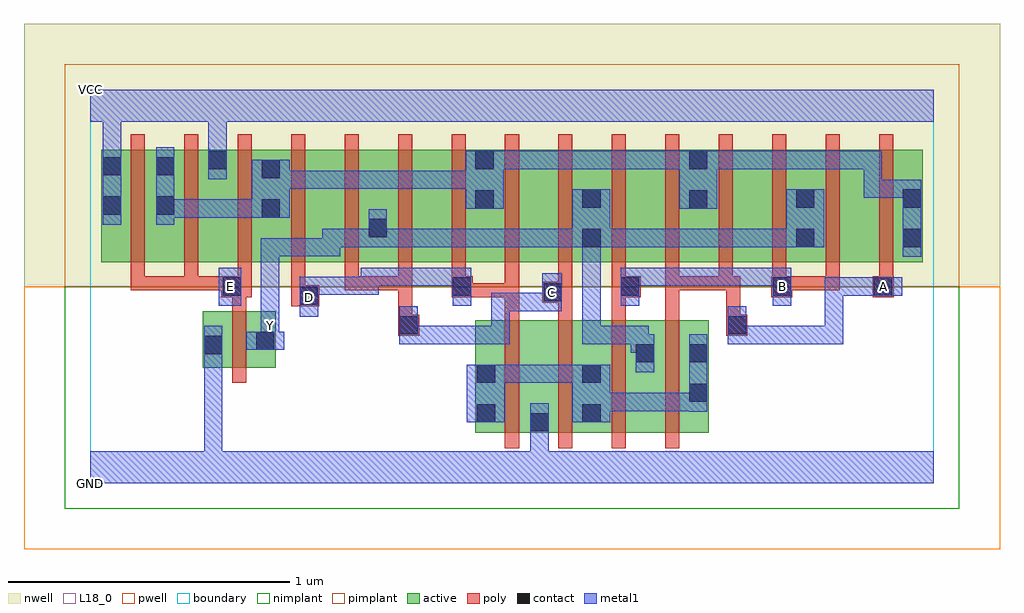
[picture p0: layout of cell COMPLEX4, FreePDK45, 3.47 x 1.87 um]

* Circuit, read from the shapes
.subckt COMPLEX4 A B C D E GND VCC Y
M1 Y E GND VSUBS nfet w=0.2u l=0.05u
M2 GND D n1 VSUBS nfet w=0.4u l=0.05u
M3 n1 C GND VSUBS nfet w=0.4u l=0.05u
M4 Y B n1 VSUBS nfet w=0.4u l=0.05u
M5 n1 A Y VSUBS nfet w=0.4u l=0.05u
M6 n2 E VCC n3 pfet w=0.4u l=0.05u m=3
M7 n4 D n2 n3 pfet w=0.4u l=0.05u
M8 Y C n4 n3 pfet w=0.4u l=0.05u
M9 n5 C Y n3 pfet w=0.4u l=0.05u
M10 n2 D n5 n3 pfet w=0.4u l=0.05u
M11 n6 D n2 n3 pfet w=0.4u l=0.05u
M12 Y C n6 n3 pfet w=0.4u l=0.05u
M13 n7 B Y n3 pfet w=0.4u l=0.05u
M14 n2 A n7 n3 pfet w=0.4u l=0.05u
M15 n8 A n2 n3 pfet w=0.4u l=0.05u
M16 Y B n8 n3 pfet w=0.4u l=0.05u
M17 n9 B Y n3 pfet w=0.4u l=0.05u
M18 n2 A n9 n3 pfet w=0.4u l=0.05u
.ends

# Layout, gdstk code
import gdstk
lib = gdstk.Library(unit=1e-6, precision=1e-09)
def R(c, l, rs):  # rectangles x0, y0, x1, y1
    for r in rs: c.add(gdstk.rectangle(r[:2], r[2:], *l))
def A(c, l, x, y, w, h, nx, ny, dx, dy):  # array of equal rectangles
    R(c, l, [(x+i*dx, y+j*dy, x+i*dx+w, y+j*dy+h) for i in range(nx) for j in range(ny)])
active = (1, 0)
pwell = (2, 0)
nwell = (3, 0)
nimplant = (4, 0)
pimplant = (5, 0)
poly = (9, 0)
contact = (10, 0)
metal1 = (11, 0)
L18_0 = (18, 0)
boundary = (235, 0)

complex4 = lib.new_cell('COMPLEX4')
A(complex4, active, 0.605, 0.787, 0.23, 0.4, 6, 1, 0.38, 0)
A(complex4, active, 0.835, 0.787, 0.225, 0.4, 6, 1, 0.38, 0)
A(complex4, active, 0.985, 0.787, 0.075, 0.283, 3, 1, 0.76, 0)
R(complex4, active, [(1.37,0.18,1.635,0.58), (1.56,0.18,1.82,0.58), (1.56,0.18,1.635,0.492), (1.745,0.18,2.01,0.58), (1.935,0.18,2.2,0.58), (1.37,0.2,1.445,0.58), (1.745,0.2,1.82,0.492), (1.935,0.245,2.01,0.5), (2.125,0.245,2.2,0.58), (0.4,0.412,0.66,0.612), (0.4,0.412,0.475,0.612), (0.585,0.445,0.66,0.612), (0.04,0.787,0.305,1.187), (0.04,0.787,0.115,1.187), (0.23,0.787,0.49,1.187), (0.23,0.787,0.305,1.165), (0.415,0.787,0.68,1.187), (0.415,0.787,0.49,1.187), (0.605,0.787,0.68,1.155), (1.365,0.787,1.44,1.187), (2.125,0.787,2.2,1.187), (2.885,0.787,2.96,1.155)])
R(complex4, pwell, [(-0.235,-0.235,3.235,0.7)])
R(complex4, nwell, [(-0.235,0.7,3.235,1.635)])
R(complex4, nimplant, [(-0.09,-0.09,3.09,0.7)])
R(complex4, pimplant, [(-0.09,0.7,3.09,1.49)])
A(complex4, poly, 1.475, 0.125, 0.05, 0.51, 4, 1, 0.19, 0)
A(complex4, poly, 0.145, 0.687, 0.05, 0.095, 3, 1, 0.19, 0)
A(complex4, poly, 0.905, 0.687, 0.05, 0.095, 3, 1, 0.19, 0)
A(complex4, poly, 1.855, 0.687, 0.05, 0.095, 6, 1, 0.19, 0)
A(complex4, poly, 0.145, 0.732, 0.05, 0.51, 15, 1, 0.19, 0)
R(complex4, poly, [(0.505,0.357,0.555,0.667), (1.095,0.525,1.17,0.6), (2.262,0.525,2.337,0.6), (1.095,0.55,1.145,0.737), (2.262,0.55,2.312,0.737), (1.475,0.585,1.525,0.712), (1.665,0.585,1.715,0.692), (1.855,0.585,1.905,0.712), (2.045,0.585,2.095,0.737), (0.505,0.617,0.555,0.712), (0.715,0.63,0.815,0.705), (1.607,0.642,1.715,0.717), (0.715,0.655,0.765,0.782), (0.467,0.662,0.575,0.737), (1.285,0.662,1.36,0.737), (1.31,0.662,1.36,0.712), (1.31,0.662,1.36,0.712), (1.31,0.662,1.525,0.712), (1.475,0.662,1.525,0.712), (1.475,0.662,1.525,0.782), (1.855,0.662,1.957,0.737), (2.422,0.662,2.497,0.737), (2.782,0.662,2.857,0.737), (1.665,0.667,1.715,0.782), (0.145,0.687,0.195,0.737), (0.145,0.687,0.195,0.737), (0.145,0.687,0.195,0.737), (0.145,0.687,0.385,0.737), (0.335,0.687,0.385,0.737), (0.335,0.687,0.385,0.737), (0.335,0.687,0.385,0.737), (0.335,0.687,0.517,0.737), (0.905,0.687,0.955,0.737), (0.905,0.687,1.145,0.737), (1.095,0.687,1.145,0.737), (1.095,0.687,1.145,0.737), (1.095,0.687,1.145,0.737), (1.095,0.687,1.145,0.737), (1.095,0.687,1.145,0.737), (2.045,0.687,2.095,0.737), (2.045,0.687,2.285,0.737), (2.235,0.687,2.285,0.737), (2.235,0.687,2.285,0.737), (2.235,0.687,2.285,0.737), (2.235,0.687,2.285,0.737), (2.235,0.687,2.312,0.737), (2.447,0.687,2.665,0.737), (2.447,0.687,2.497,0.737), (2.447,0.687,2.497,0.737), (2.615,0.687,2.665,0.737)])
R(complex4, contact, [(1.565,0.185,1.63,0.25), (1.375,0.217,1.44,0.282), (1.75,0.217,1.815,0.282), (2.13,0.29,2.195,0.355), (1.375,0.357,1.44,0.422), (1.75,0.357,1.815,0.422), (1.94,0.43,2.005,0.495), (2.13,0.43,2.195,0.495), (0.405,0.46,0.47,0.525), (0.59,0.475,0.655,0.54), (1.1,0.53,1.165,0.595), (2.267,0.53,2.332,0.595), (0.745,0.635,0.81,0.7), (1.612,0.647,1.677,0.712), (0.472,0.667,0.537,0.732), (1.29,0.667,1.355,0.732), (1.887,0.667,1.952,0.732), (2.427,0.667,2.492,0.732), (2.787,0.667,2.852,0.732), (1.75,0.84,1.815,0.905), (2.51,0.84,2.575,0.905), (2.89,0.84,2.955,0.905), (0.99,0.875,1.055,0.94), (0.61,0.945,0.675,1.01), (0.045,0.955,0.11,1.02), (0.235,0.955,0.3,1.02), (1.37,0.977,1.435,1.042), (2.13,0.977,2.195,1.042), (1.75,0.98,1.815,1.045), (2.51,0.98,2.575,1.045), (2.89,0.98,2.955,1.045), (0.61,1.085,0.675,1.15), (0.045,1.095,0.11,1.16), (0.235,1.095,0.3,1.16), (0.42,1.117,0.485,1.182), (1.37,1.117,1.435,1.182), (2.13,1.117,2.195,1.182)])
R(complex4, metal1, [(0,0,3,0.115), (0.405,0.05,0.47,0.115), (0.405,0.05,0.47,0.115), (0.405,0.05,0.47,0.49), (1.565,0.05,1.63,0.115), (1.565,0.05,1.63,0.115), (1.565,0.05,1.63,0.215), (1.565,0.15,1.63,0.285), (1.34,0.217,1.475,0.422), (1.715,0.217,1.85,0.422), (2.13,0.255,2.195,0.53), (1.785,0.257,1.85,0.322), (1.785,0.257,1.85,0.322), (1.785,0.257,1.987,0.322), (1.922,0.257,1.987,0.322), (1.922,0.257,2.127,0.322), (2.062,0.257,2.127,0.322), (2.062,0.257,2.195,0.322), (1.41,0.357,1.492,0.422), (1.427,0.357,1.492,0.422), (1.427,0.357,1.642,0.422), (1.577,0.357,1.642,0.422), (1.577,0.357,1.642,0.422), (1.577,0.357,1.642,0.422), (1.577,0.357,1.78,0.422), (1.94,0.395,2.005,0.53), (0.405,0.425,0.47,0.49), (0.405,0.425,0.47,0.49), (0.405,0.425,0.47,0.49), (0.405,0.425,0.47,0.49), (0.405,0.425,0.47,0.56), (1.922,0.465,2.005,0.53), (1.922,0.465,1.987,0.56), (0.555,0.475,0.69,0.54), (0.607,0.475,0.672,0.557), (0.607,0.492,0.672,0.627), (1.1,0.495,1.165,0.63), (1.1,0.495,1.192,0.56), (1.127,0.495,1.192,0.56), (1.127,0.495,1.192,0.56), (1.127,0.495,1.192,0.56), (1.127,0.495,1.355,0.56), (1.29,0.495,1.355,0.56), (1.29,0.495,1.492,0.56), (1.427,0.495,1.492,0.56), (1.427,0.495,1.492,0.677), (1.75,0.495,1.815,0.56), (1.75,0.495,1.987,0.56), (1.75,0.495,1.815,0.905), (2.267,0.495,2.402,0.56), (2.267,0.495,2.332,0.63), (2.337,0.495,2.402,0.56), (2.337,0.495,2.402,0.56), (2.337,0.495,2.402,0.56), (2.337,0.495,2.47,0.56), (2.405,0.495,2.47,0.56), (2.405,0.495,2.677,0.56), (2.612,0.495,2.677,0.56), (2.612,0.495,2.677,0.732), (0.607,0.562,0.672,0.872), (0.745,0.592,0.812,0.735), (1.427,0.612,1.492,0.677), (1.427,0.612,1.492,0.677), (1.427,0.612,1.492,0.677), (1.427,0.612,1.642,0.677), (1.577,0.612,1.642,0.677), (1.577,0.612,1.672,0.677), (1.607,0.612,1.677,0.747), (0.457,0.632,0.537,0.767), (1.29,0.632,1.355,0.767), (1.887,0.632,1.952,0.767), (2.427,0.632,2.492,0.767), (2.612,0.667,2.677,0.732), (2.612,0.667,2.677,0.732), (2.612,0.667,2.677,0.732), (2.612,0.667,2.817,0.732), (2.752,0.667,2.817,0.732), (2.752,0.667,2.817,0.732), (2.752,0.667,2.887,0.732), (0.747,0.67,0.847,0.735), (0.782,0.67,0.847,0.735), (0.782,0.67,1.027,0.735), (0.962,0.67,1.027,0.767), (0.962,0.702,1.027,0.767), (0.962,0.702,1.027,0.767), (0.962,0.702,1.192,0.767), (1.127,0.702,1.192,0.767), (1.127,0.702,1.192,0.767), (1.127,0.702,1.192,0.767), (1.127,0.702,1.355,0.767), (1.887,0.702,1.987,0.767), (1.922,0.702,1.987,0.767), (1.922,0.702,2.127,0.767), (2.062,0.702,2.127,0.767), (2.062,0.702,2.127,0.767), (2.062,0.702,2.127,0.767), (2.062,0.702,2.265,0.767), (2.2,0.702,2.265,0.767), (2.2,0.702,2.402,0.767), (2.337,0.702,2.402,0.767), (2.337,0.702,2.492,0.767), (2.89,0.805,2.955,1.08), (0.607,0.807,0.672,0.872), (0.607,0.807,0.89,0.872), (0.825,0.807,0.89,0.905), (0.825,0.84,0.89,0.905), (0.825,0.84,0.89,0.905), (0.825,0.84,1.027,0.905), (0.962,0.84,1.027,0.905), (0.962,0.84,1.055,0.905), (0.99,0.84,1.055,0.975), (0.99,0.84,1.192,0.905), (1.127,0.84,1.192,0.905), (1.127,0.84,1.192,0.905), (1.127,0.84,1.192,0.905), (1.127,0.84,1.355,0.905), (1.29,0.84,1.355,0.905), (1.29,0.84,1.492,0.905), (1.427,0.84,1.492,0.905), (1.427,0.84,1.492,0.905), (1.427,0.84,1.492,0.905), (1.427,0.84,1.63,0.905), (1.565,0.84,1.63,0.905), (1.565,0.84,1.63,0.905), (1.565,0.84,1.63,0.905), (1.565,0.84,1.78,0.905), (1.715,0.84,1.85,1.045), (1.75,0.84,1.815,0.905), (1.75,0.84,1.815,0.905), (1.785,0.84,1.85,0.905), (1.785,0.84,1.85,0.905), (1.785,0.84,1.99,0.905), (1.925,0.84,1.99,0.905), (1.925,0.84,2.127,0.905), (2.062,0.84,2.127,0.905), (2.062,0.84,2.265,0.905), (2.2,0.84,2.265,0.905), (2.2,0.84,2.265,0.905), (2.2,0.84,2.265,0.905), (2.2,0.84,2.402,0.905), (2.337,0.84,2.402,0.905), (2.337,0.84,2.54,0.905), (2.475,0.84,2.54,0.905), (2.475,0.84,2.54,0.905), (2.475,0.84,2.61,1.045), (0.045,0.92,0.11,1.195), (0.235,0.92,0.3,1.195), (0.235,0.945,0.3,1.01), (0.235,0.945,0.3,1.01), (0.235,0.945,0.437,1.01), (0.372,0.945,0.437,1.01), (0.372,0.945,0.437,1.01), (0.372,0.945,0.437,1.01), (0.372,0.945,0.64,1.01), (0.575,0.945,0.64,1.01), (0.575,0.945,0.64,1.01), (0.575,0.945,0.71,1.15), (1.335,0.977,1.47,1.182), (2.095,0.977,2.23,1.182), (2.75,1.015,2.815,1.08), (2.75,1.015,2.955,1.08), (2.75,1.015,2.815,1.182), (2.89,1.015,2.955,1.08), (2.89,1.015,2.955,1.08), (0.645,1.047,0.89,1.112), (0.825,1.047,0.89,1.112), (0.825,1.047,0.89,1.112), (0.825,1.047,0.89,1.112), (0.825,1.047,1.027,1.112), (0.962,1.047,1.027,1.112), (0.962,1.047,1.027,1.112), (0.962,1.047,1.027,1.112), (0.962,1.047,1.192,1.112), (1.127,1.047,1.192,1.112), (1.127,1.047,1.192,1.112), (1.127,1.047,1.192,1.112), (1.127,1.047,1.33,1.112), (1.265,1.047,1.33,1.112), (1.265,1.047,1.4,1.112), (0.42,1.082,0.485,1.217), (1.405,1.117,1.492,1.182), (1.427,1.117,1.492,1.182), (1.427,1.117,1.642,1.182), (1.577,1.117,1.642,1.182), (1.577,1.117,1.642,1.182), (1.577,1.117,1.642,1.182), (1.577,1.117,1.815,1.182), (1.75,1.117,1.815,1.182), (1.75,1.117,1.815,1.182), (1.75,1.117,1.815,1.182), (1.75,1.117,1.987,1.182), (1.922,1.117,1.987,1.182), (1.922,1.117,2.127,1.182), (2.062,1.117,2.127,1.182), (2.062,1.117,2.16,1.182), (2.165,1.117,2.332,1.182), (2.267,1.117,2.332,1.182), (2.267,1.117,2.402,1.182), (2.337,1.117,2.402,1.182), (2.337,1.117,2.47,1.182), (2.405,1.117,2.47,1.182), (2.405,1.117,2.677,1.182), (2.612,1.117,2.677,1.182), (2.612,1.117,2.677,1.182), (2.612,1.117,2.677,1.182), (2.612,1.117,2.815,1.182), (2.75,1.117,2.815,1.182), (0.045,1.13,0.11,1.35), (0.42,1.152,0.485,1.35), (0,1.285,3,1.4)])
R(complex4, L18_0, [(0,0,3,0.115), (0.405,0.05,0.47,0.115), (0.405,0.05,0.47,0.115), (0.405,0.05,0.47,0.49), (1.565,0.05,1.63,0.115), (1.565,0.05,1.63,0.115), (1.565,0.05,1.63,0.215), (1.565,0.15,1.63,0.285), (1.94,0.395,2.005,0.53), (0.405,0.425,0.47,0.49), (0.405,0.425,0.47,0.49), (0.405,0.425,0.47,0.49), (0.405,0.425,0.47,0.49), (0.405,0.425,0.47,0.56), (1.922,0.465,1.987,0.56), (1.922,0.465,2.005,0.53), (0.555,0.475,0.69,0.54), (0.607,0.475,0.672,0.557), (0.607,0.492,0.672,0.627), (1.1,0.495,1.165,0.63), (1.1,0.495,1.192,0.56), (1.127,0.495,1.192,0.56), (1.127,0.495,1.192,0.56), (1.127,0.495,1.192,0.56), (1.127,0.495,1.355,0.56), (1.29,0.495,1.355,0.56), (1.29,0.495,1.492,0.56), (1.427,0.495,1.492,0.56), (1.427,0.495,1.492,0.677), (1.75,0.495,1.815,0.56), (1.75,0.495,1.815,0.905), (1.75,0.495,1.987,0.56), (2.267,0.495,2.332,0.63), (2.267,0.495,2.402,0.56), (2.337,0.495,2.402,0.56), (2.337,0.495,2.402,0.56), (2.337,0.495,2.402,0.56), (2.337,0.495,2.47,0.56), (2.405,0.495,2.47,0.56), (2.405,0.495,2.677,0.56), (2.612,0.495,2.677,0.56), (2.612,0.495,2.677,0.732), (0.607,0.527,0.672,0.592), (0.607,0.562,0.672,0.872), (0.745,0.592,0.812,0.735), (1.427,0.612,1.492,0.677), (1.427,0.612,1.492,0.677), (1.427,0.612,1.492,0.677), (1.427,0.612,1.642,0.677), (1.577,0.612,1.642,0.677), (1.577,0.612,1.672,0.677), (1.607,0.612,1.677,0.747), (0.747,0.627,0.812,0.692), (0.457,0.632,0.537,0.767), (1.29,0.632,1.355,0.767), (1.887,0.632,1.952,0.767), (2.427,0.632,2.492,0.767), (1.607,0.647,1.672,0.712), (0.467,0.667,0.532,0.732), (2.427,0.667,2.492,0.732), (2.612,0.667,2.677,0.732), (2.612,0.667,2.677,0.732), (2.612,0.667,2.677,0.732), (2.612,0.667,2.817,0.732), (2.752,0.667,2.817,0.732), (2.752,0.667,2.817,0.732), (2.752,0.667,2.887,0.732), (2.787,0.667,2.852,0.732), (0.747,0.67,0.847,0.735), (0.782,0.67,0.847,0.735), (0.782,0.67,1.027,0.735), (0.962,0.67,1.027,0.767), (0.962,0.702,1.027,0.767), (0.962,0.702,1.027,0.767), (0.962,0.702,1.192,0.767), (1.127,0.702,1.192,0.767), (1.127,0.702,1.192,0.767), (1.127,0.702,1.192,0.767), (1.127,0.702,1.355,0.767), (1.887,0.702,1.987,0.767), (1.922,0.702,1.987,0.767), (1.922,0.702,2.127,0.767), (2.062,0.702,2.127,0.767), (2.062,0.702,2.127,0.767), (2.062,0.702,2.127,0.767), (2.062,0.702,2.265,0.767), (2.2,0.702,2.265,0.767), (2.2,0.702,2.402,0.767), (2.337,0.702,2.402,0.767), (2.337,0.702,2.492,0.767), (0.607,0.807,0.672,0.872), (0.607,0.807,0.89,0.872), (0.825,0.807,0.89,0.905), (0.825,0.84,0.89,0.905), (0.825,0.84,0.89,0.905), (0.825,0.84,1.027,0.905), (0.962,0.84,1.027,0.905), (0.962,0.84,1.055,0.905), (0.99,0.84,1.055,0.975), (0.99,0.84,1.192,0.905), (1.127,0.84,1.192,0.905), (1.127,0.84,1.192,0.905), (1.127,0.84,1.192,0.905), (1.127,0.84,1.355,0.905), (1.29,0.84,1.355,0.905), (1.29,0.84,1.492,0.905), (1.427,0.84,1.492,0.905), (1.427,0.84,1.492,0.905), (1.427,0.84,1.492,0.905), (1.427,0.84,1.63,0.905), (1.565,0.84,1.63,0.905), (1.565,0.84,1.63,0.905), (1.565,0.84,1.63,0.905), (1.565,0.84,1.78,0.905), (1.715,0.84,1.85,1.045), (1.75,0.84,1.815,0.905), (1.75,0.84,1.815,0.905), (1.785,0.84,1.85,0.905), (1.785,0.84,1.85,0.905), (1.785,0.84,1.99,0.905), (1.925,0.84,1.99,0.905), (1.925,0.84,2.127,0.905), (2.062,0.84,2.127,0.905), (2.062,0.84,2.265,0.905), (2.2,0.84,2.265,0.905), (2.2,0.84,2.265,0.905), (2.2,0.84,2.265,0.905), (2.2,0.84,2.402,0.905), (2.337,0.84,2.402,0.905), (2.337,0.84,2.54,0.905), (2.475,0.84,2.54,0.905), (2.475,0.84,2.54,0.905), (2.475,0.84,2.61,1.045), (0.045,0.92,0.11,1.195), (0.42,1.082,0.485,1.217), (0.045,1.13,0.11,1.35), (0.42,1.152,0.485,1.35), (0,1.285,3,1.4)])
R(complex4, boundary, [(0,0,3,1.4)])
complex4.add(gdstk.Label('A', (2.82,0.7), layer=11, texttype=0))
complex4.add(gdstk.Label('B', (2.46,0.7), layer=11, texttype=0))
complex4.add(gdstk.Label('C', (1.64,0.68), layer=11, texttype=0))
complex4.add(gdstk.Label('D', (0.78,0.66), layer=11, texttype=0))
complex4.add(gdstk.Label('E', (0.5,0.7), layer=11, texttype=0))
complex4.add(gdstk.Label('Y', (0.64,0.56), layer=11, texttype=0))
complex4.add(gdstk.Label('VCC', (0,1.4), layer=11, texttype=0))
complex4.add(gdstk.Label('GND', (0,0), layer=11, texttype=0))

lib.write_gds('COMPLEX4.gds')
